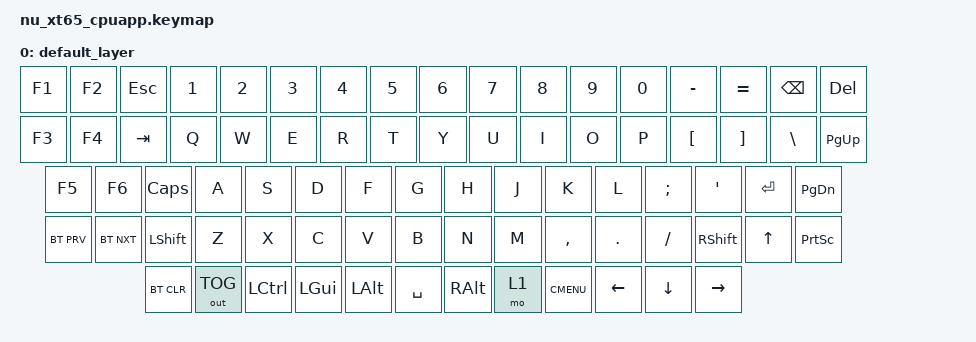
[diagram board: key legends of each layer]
#include <behaviors.dtsi>
#include <dt-bindings/zmk/keys.h>
#include <dt-bindings/zmk/bt.h>
#include <dt-bindings/zmk/outputs.h>

/ {
    keymap {
        compatible = "zmk,keymap";

        default_layer {
                // -------------------------------------------------------------------------------------------------------------
                // | F1 | F2 | | ESC |  1  |  2  |  3  |  4  |  5  |  6  |  7  |  8  |  9  |  0  |  -  |  =  |   BKSP   | DEL  |
                // | F3 | F4 | | TAB  |  Q  |  W  |  E  |  R  |  T  |  Y  |  U  |  I  |  O  |  P  |  [  |  ]  |    |    | PGUP |
                // | F5 | F6 | | CAPS  |  A  |  S  |  D  |  F  |  G  |  H  |  J  |  K  |  L  |  ;  |  '  |     ENTER    | PGDN |
                // | BTN| BTP| |  SHIFT    |  Z  |  X  |  C  |  V  |  B  |  N  |  M  |  ,  |  .  | /   |  SHIFT  |  UP  | PRSC |
                // | BTC|OU_T| |  CTL  |  WIN  |  ALT  |            SPACE               | ALT |  1  | MNU | LEFT | DOWN | RGHT |
                // -------------------------------------------------------------------------------------------------------------
            bindings = <
                &kp F1     &kp F2       &kp ESC &kp N1 &kp N2 &kp N3 &kp N4 &kp N5 &kp N6 &kp N7 &kp N8  &kp N9  &kp N0  &kp MINUS &kp EQUAL &kp BSPC &kp DEL
                &kp F3     &kp F4       &kp TAB  &kp Q  &kp W  &kp E  &kp R  &kp T  &kp Y  &kp U  &kp  I  &kp  O  &kp  P  &kp LBKT &kp RBKT &kp BSLH &kp PG_UP
                &kp F5     &kp F6       &kp CLCK  &kp A  &kp S  &kp D  &kp F  &kp G  &kp H  &kp J   &kp  K   &kp  L  &kp SEMI &kp SQT    &kp RET     &kp PG_DN
                &bt BT_PRV &bt BT_NXT   &kp LSHFT  &kp Z  &kp X  &kp C  &kp V  &kp B  &kp N  &kp M  &kp COMMA &kp DOT &kp FSLH   &kp RSHFT   &kp UP  &kp PSCRN
                &bt BT_CLR &out OUT_TOG &kp LCTRL &kp LGUI &kp LALT            &kp SPACE               &kp RALT  &mo 1 &kp K_CMENU &kp LEFT &kp DOWN &kp RIGHT
            >;
        };
        // raise {
        //     bindings = <
        //         &kp GRAVE &kp F1 &kp F2 &kp F3 &kp F4 &kp F5 &kp F6 &kp F7 &kp  F8   &kp  F9 &kp  F10  &kp F11 &kp F12   &kp DEL &trans
        //         &trans &trans &kp UP &trans &trans &trans &trans &trans &kp INS &trans &kp PSCRN &kp SLCK &kp PAUSE_BREAK &sys_reset
        //         &trans    &kp LEFT &kp DOWN &kp RIGHT &trans &trans &trans &trans &trans &trans &kp HOME  &kp PG_UP   &bootloader
        //         &kp C_PREV &kp C_VOL_DN &kp C_VOL_UP &kp C_MUTE &trans &trans &trans &trans &trans &kp END &kp PG_DN  &kp C_NEXT
        //         &bt BT_PRV &bt BT_NXT  &trans              &trans                            &trans   &trans   &trans &bt BT_CLR
        //     >;
        //     sensor-bindings = <&inc_dec_kp C_VOL_UP C_VOL_DN>;
        // };
    };
};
